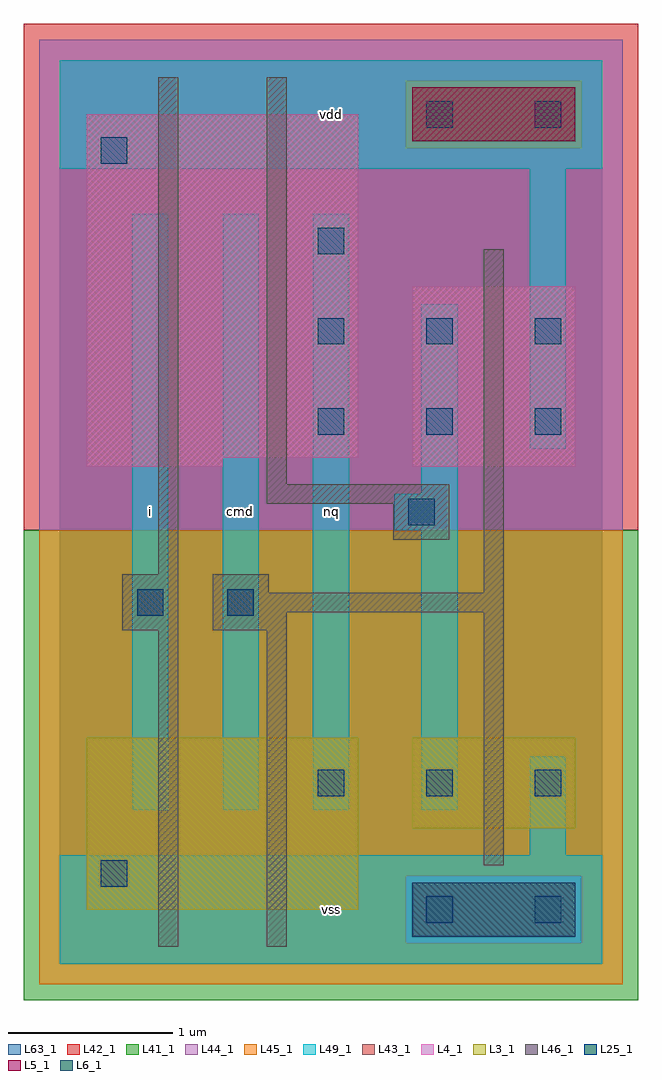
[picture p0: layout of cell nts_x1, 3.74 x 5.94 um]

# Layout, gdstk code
import gdstk
lib = gdstk.Library(unit=1e-6, precision=1e-09)
def R(c, l, rs):  # rectangles x0, y0, x1, y1
    for r in rs: c.add(gdstk.rectangle(r[:2], r[2:], *l))
def A(c, l, x, y, w, h, nx, ny, dx, dy):  # array of equal rectangles
    R(c, l, [(x+i*dx, y+j*dy, x+i*dx+w, y+j*dy+h) for i in range(nx) for j in range(ny)])
L3_1 = (3, 1)
L4_1 = (4, 1)
L5_1 = (5, 1)
L6_1 = (6, 1)
L25_1 = (25, 1)
L41_1 = (41, 1)
L42_1 = (42, 1)
L43_1 = (43, 1)
L44_1 = (44, 1)
L45_1 = (45, 1)
L46_1 = (46, 1)
L49_1 = (49, 1)
L63_1 = (63, 1)

nts_x1 = lib.new_cell('nts_x1')
R(nts_x1, L3_1, [(0.165,0.33,1.815,1.375), (2.145,0.825,3.135,1.375)])
R(nts_x1, L4_1, [(0.165,3.025,0.99,3.08), (2.145,3.025,3.135,4.125), (0.165,3.08,1.815,5.17)])
R(nts_x1, L5_1, [(2.145,5.005,3.135,5.335)])
R(nts_x1, L6_1, [(2.145,0.165,3.135,0.495)])
A(nts_x1, L25_1, 1.57, 1.02, 0.16, 0.16, 3, 2, 0.66, 2.2)
A(nts_x1, L25_1, 1.57, 3.77, 0.16, 0.16, 3, 1, 0.66, 0)
R(nts_x1, L25_1, [(2.23,0.25,2.39,0.41), (2.89,0.25,3.05,0.41), (0.25,0.47,0.41,0.63), (0.47,2.12,0.63,2.28), (1.02,2.12,1.18,2.28), (2.12,2.67,2.28,2.83), (1.57,4.32,1.73,4.48), (0.25,4.87,0.41,5.03), (2.23,5.09,2.39,5.25), (2.89,5.09,3.05,5.25)])
R(nts_x1, L41_1, [(-0.22,-0.22,3.52,2.64)])
R(nts_x1, L42_1, [(-0.22,2.64,3.52,5.72)])
R(nts_x1, L43_1, [(2.145,0.165,3.135,0.495), (0.165,0.33,1.815,1.375), (2.145,0.825,3.135,1.375), (0.165,3.025,0.99,3.08), (2.145,3.025,3.135,4.125), (0.165,3.08,1.815,5.17), (2.145,5.005,3.135,5.335)])
R(nts_x1, L44_1, [(2.105,0.125,3.175,0.535), (-0.125,2.64,3.425,4.965), (-0.125,4.965,2.105,5.375), (3.175,4.965,3.425,5.375), (-0.125,5.375,3.425,5.625)])
R(nts_x1, L45_1, [(-0.125,-0.125,3.425,0.125), (-0.125,0.125,2.105,0.535), (3.175,0.125,3.425,0.535), (-0.125,0.535,3.425,2.64), (2.105,4.965,3.175,5.375)])
R(nts_x1, L46_1, [(0.6,0.105,0.72,2.03), (1.26,0.105,1.38,2.03), (2.58,0.6,2.7,2.14), (0.38,2.03,0.72,2.37), (0.93,2.03,1.38,2.14), (0.93,2.14,2.7,2.26), (0.93,2.26,1.27,2.37), (2.58,2.26,2.7,4.35), (0.6,2.37,0.72,5.395), (2.03,2.58,2.37,2.8), (1.26,2.8,2.37,2.92), (1.26,2.92,1.38,5.395)])
A(nts_x1, L49_1, 0.44, 0.935, 0.22, 3.63, 3, 1, 0.55, 0)
R(nts_x1, L49_1, [(0,0,3.3,0.66), (2.86,0.66,3.08,1.265), (2.2,0.935,2.42,2.64), (2.035,2.64,2.42,2.86), (2.2,2.86,2.42,4.015), (2.86,3.135,3.08,4.84), (0,4.84,3.3,5.5)])
R(nts_x1, L63_1, [(0,0,3.3,5.5)])
nts_x1.add(gdstk.Label('i', (0.55,2.75), layer=49, texttype=1))
nts_x1.add(gdstk.Label('cmd', (1.1,2.75), layer=49, texttype=1))
nts_x1.add(gdstk.Label('vss', (1.65,0.33), layer=49, texttype=1))
nts_x1.add(gdstk.Label('nq', (1.65,2.75), layer=49, texttype=1))
nts_x1.add(gdstk.Label('vdd', (1.65,5.17), layer=49, texttype=1))

lib.write_gds('nts_x1.gds')
